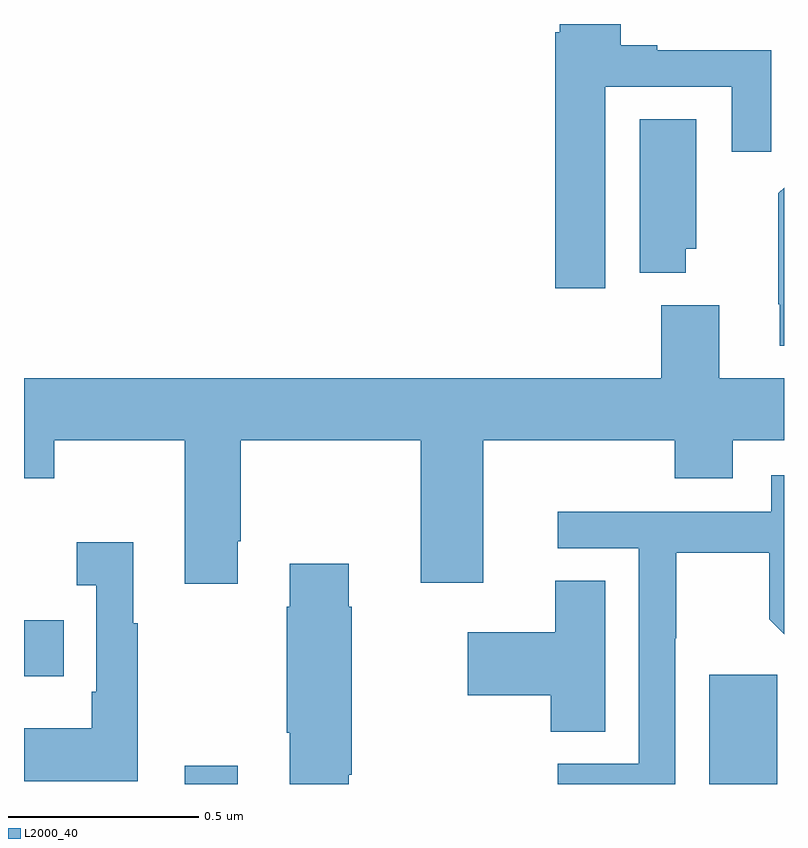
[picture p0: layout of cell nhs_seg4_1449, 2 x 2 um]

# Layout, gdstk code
import gdstk
lib = gdstk.Library(unit=1e-6, precision=1e-09)
def R(c, l, rs):  # rectangles x0, y0, x1, y1
    for r in rs: c.add(gdstk.rectangle(r[:2], r[2:], *l))
def P(c, l, *ps):  # polygons
    for p in ps: c.add(gdstk.Polygon(p, *l))
L2000_40 = (2000, 40)

nhs_seg4_1449 = lib.new_cell('nhs_seg4_1449')
R(nhs_seg4_1449, L2000_40, [(128.423,811.9,128.563,811.948), (129.803,811.9,129.982,812.187), (128,812.183,128.105,812.331)])
P(nhs_seg4_1449, L2000_40, [(129.529,813.735),(129.863,813.735),(129.863,813.564),(129.967,813.564),(129.967,813.831),(129.667,813.831),(129.667,813.844),(129.571,813.844),(129.571,813.9),(129.41,813.9),(129.41,813.878),(129.398,813.878),(129.398,813.204),(129.529,813.204)],
  [(129.742,813.309),(129.769,813.309),(129.769,813.65),(129.62,813.65),(129.62,813.245),(129.742,813.245)],
  [(130,813.469),(129.985,813.454),(129.985,813.163),(129.989,813.163),(129.989,813.053),(130,813.053)],
  [(128.563,812.539),(128.571,812.539),(128.571,812.804),(129.044,812.804),(129.044,812.43),(129.208,812.43),(129.208,812.804),(129.713,812.804),(129.713,812.705),(129.865,812.705),(129.865,812.804),(130,812.804),(130,812.968),(129.829,812.968),(129.829,813.16),(129.677,813.16),(129.677,812.968),(128,812.968),(128,812.705),(128.079,812.705),(128.079,812.804),(128.423,812.804),(128.423,812.427),(128.563,812.427)],
  [(129.714,812.284),(129.717,812.284),(129.717,812.508),(129.961,812.508),(129.961,812.333),(130,812.294),(130,812.713),(129.966,812.713),(129.966,812.616),(129.405,812.616),(129.405,812.52),(129.618,812.52),(129.618,811.953),(129.405,811.953),(129.405,811.9),(129.714,811.9)],
  [(128.299,812.323),(128.287,812.323),(128.287,812.536),(128.139,812.536),(128.139,812.423),(128.19,812.423),(128.19,812.143),(128.178,812.143),(128.178,812.047),(128,812.047),(128,811.907),(128.299,811.907)],
  [(128.854,811.924),(128.862,811.924),(128.862,812.366),(128.854,812.366),(128.854,812.479),(128.699,812.479),(128.699,812.366),(128.692,812.366),(128.692,812.035),(128.699,812.035),(128.699,811.9),(128.854,811.9)],
  [(129.529,812.435),(129.398,812.435),(129.398,812.299),(129.168,812.299),(129.168,812.134),(129.386,812.134),(129.386,812.038),(129.529,812.038)])

lib.write_gds('nhs_seg4_1449.gds')
